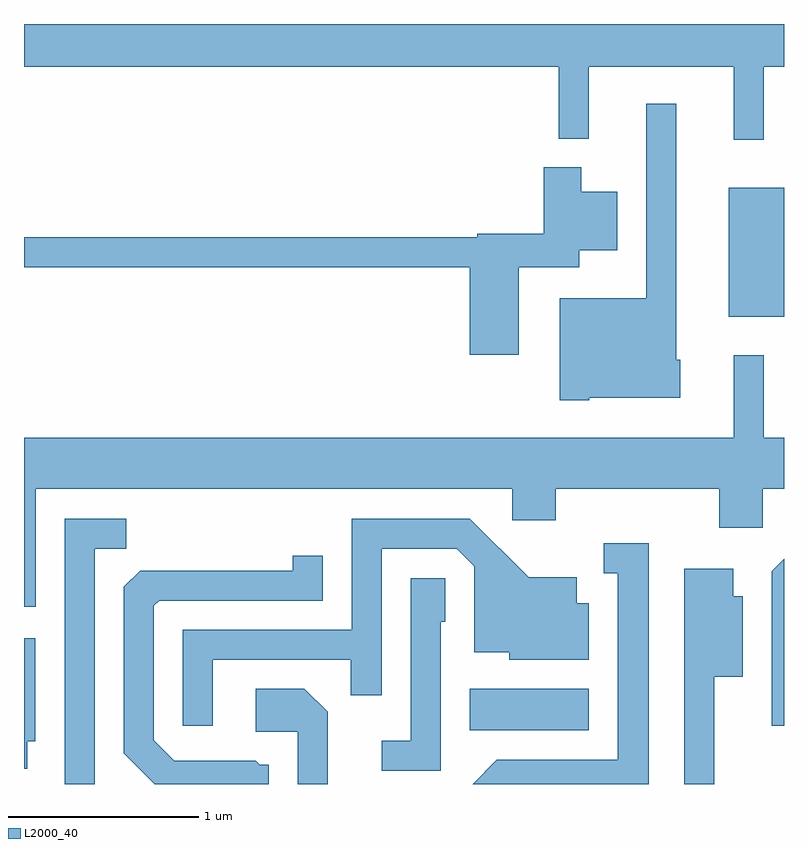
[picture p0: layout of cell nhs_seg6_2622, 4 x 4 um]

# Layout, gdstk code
import gdstk
lib = gdstk.Library(unit=1e-6, precision=1e-09)
def R(c, l, rs):  # rectangles x0, y0, x1, y1
    for r in rs: c.add(gdstk.rectangle(r[:2], r[2:], *l))
def P(c, l, *ps):  # polygons
    for p in ps: c.add(gdstk.Polygon(p, *l))
L2000_40 = (2000, 40)

nhs_seg6_2622 = lib.new_cell('nhs_seg6_2622')
R(nhs_seg6_2622, L2000_40, [(265.956,1646.446,266.584,1646.664), (267.321,1648.621,267.611,1649.299)])
P(nhs_seg6_2622, L2000_40, [(267.504,1649.936),(267.611,1649.936),(267.611,1650.162),(263.611,1650.162),(263.611,1649.936),(266.426,1649.936),(266.426,1649.558),(266.584,1649.558),(266.584,1649.936),(267.346,1649.936),(267.346,1649.553),(267.504,1649.553)],
  [(266.585,1648.196),(267.064,1648.196),(267.064,1648.394),(267.044,1648.394),(267.044,1649.743),(266.886,1649.743),(266.886,1648.719),(266.431,1648.719),(266.431,1648.181),(266.585,1648.181)],
  [(266.214,1648.881),(266.534,1648.881),(266.534,1648.971),(266.734,1648.971),(266.734,1649.279),(266.544,1649.279),(266.544,1649.409),(266.346,1649.409),(266.346,1649.059),(265.996,1649.059),(265.996,1649.039),(263.611,1649.039),(263.611,1648.881),(265.956,1648.881),(265.956,1648.421),(266.214,1648.421)],
  [(263.674,1647.716),(266.181,1647.716),(266.181,1647.551),(266.409,1647.551),(266.409,1647.716),(267.271,1647.716),(267.271,1647.511),(267.499,1647.511),(267.499,1647.716),(267.611,1647.716),(267.611,1647.984),(267.504,1647.984),(267.504,1648.418),(267.346,1648.418),(267.346,1647.984),(263.611,1647.984),(263.611,1647.096),(263.674,1647.096)],
  [(263.984,1647.401),(264.148,1647.401),(264.148,1647.559),(263.826,1647.559),(263.826,1646.162),(263.984,1646.162)],
  [(264.604,1646.816),(265.331,1646.816),(265.331,1646.628),(265.494,1646.628),(265.494,1647.401),(265.889,1647.401),(265.981,1647.309),(265.981,1646.856),(266.166,1646.856),(266.166,1646.816),(266.584,1646.816),(266.584,1647.114),(266.519,1647.114),(266.519,1647.249),(266.267,1647.249),(265.957,1647.559),(265.336,1647.559),(265.336,1646.974),(264.446,1646.974),(264.446,1646.468),(264.604,1646.468)],
  [(266.899,1647.429),(266.663,1647.429),(266.663,1647.271),(266.736,1647.271),(266.736,1646.289),(266.099,1646.289),(265.972,1646.162),(266.899,1646.162)],
  [(264.899,1646.264),(264.852,1646.264),(264.832,1646.284),(264.402,1646.284),(264.294,1646.392),(264.294,1647.099),(264.322,1647.126),(265.184,1647.126),(265.184,1647.363),(265.026,1647.363),(265.026,1647.284),(264.222,1647.284),(264.136,1647.199),(264.136,1646.324),(264.298,1646.162),(264.899,1646.162)],
  [(267.611,1647.347),(267.546,1647.282),(267.546,1646.468),(267.611,1646.468)],
  [(267.244,1646.726),(267.394,1646.726),(267.394,1647.149),(267.344,1647.149),(267.344,1647.294),(267.086,1647.294),(267.086,1646.162),(267.244,1646.162)],
  [(265.804,1647.016),(265.829,1647.016),(265.829,1647.244),(265.646,1647.244),(265.646,1646.389),(265.493,1646.389),(265.493,1646.231),(265.804,1646.231)],
  [(263.629,1646.386),(263.669,1646.386),(263.669,1646.929),(263.611,1646.929),(263.611,1646.241),(263.629,1646.241)],
  [(265.209,1646.542),(265.087,1646.664),(264.831,1646.664),(264.831,1646.436),(265.051,1646.436),(265.051,1646.162),(265.209,1646.162)])

lib.write_gds('nhs_seg6_2622.gds')
